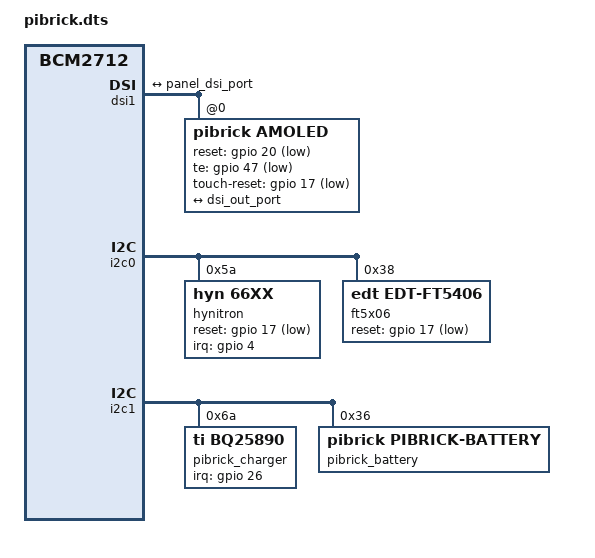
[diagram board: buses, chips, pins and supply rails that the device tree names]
/dts-v1/;
/plugin/;

/ {
	compatible = "brcm,bcm2712",
		     "raspberrypi,5-compute-module",
		     "raspberrypi,5-model-b";

	/*
	 * piBrick PocketCM5 common overlay
	 *
	 * Display variants:
	 *   - 3.92-inch AMOLED: 1080x1240, 90/60 Hz
	 *   - 5.48-inch AMOLED: 1080x1920, 60 Hz
	 *
	 * The panel driver detects the installed panel through I2C0:
	 *   0x38 responds -> 5.48-inch panel
	 *   0x38 absent   -> 3.92-inch panel
	 *
	 * Display rotation:
	 *   rotation = <0> is the common physical DTS setting.
	 *   The panel driver adds 180 degrees for the 5.48-inch panel.
	 *
	 * Touch rotation is configured independently because the touchscreen
	 * is a separate I2C input device:
	 *   - Hynitron 3.92-inch: coordinate configuration from the original DTS
	 *   - FT5x06 5.48-inch: inverted X + inverted Y = 180 degrees
	 */

	fragment@0 {
		target = <&dsi1>;
		__overlay__ {
			status = "okay";
			#address-cells = <1>;
			#size-cells = <0>;

			port {
				dsi_out_port: endpoint {
					remote-endpoint = <&panel_dsi_port>;
				};
			};

			pibrick: pibrick@0 {
				compatible = "pibrick,amoled";
				status = "okay";
				reg = <0>;

				reset-gpios = <&gpio 20 1>;
				te-gpios = <&gpio 47 1>;
				touch-reset-gpios = <&gpio 17 1>;

				/* Base rotation. 5.48-inch driver adds 180 degrees. */
				rotation = <0>;

				port {
					panel_dsi_port: endpoint {
						remote-endpoint = <&dsi_out_port>;
					};
				};
			};
		};
	};

	fragment@1 {
		target = <&gpio>;
		__overlay__ {
			pibrick_pins: pibrick_pins {
				brcm,pins = <47>;
				brcm,function = <1>;
				brcm,pull = <1>;
			};
		};
	};

	fragment@2 {
		target = <&i2c0>;
		__overlay__ {
			#address-cells = <1>;
			#size-cells = <0>;
			status = "okay";

			/* 3.92-inch AMOLED touchscreen */
			hynitron: touchscreen@5a {
				compatible = "hyn,66xx";
				reg = <0x5a>;

				interrupt-parent = <&gpio>;
				interrupts = <4 2>;
				reset-gpio = <&gpio 17 1>;
				irq-gpio = <&gpio 4 2>;

				panel = <&pibrick>;

				max-touch-number = <5>;
				display-coords = <0 0 1080 1240>;
				pos-swap = <1>;
				posx-reverse = <0>;
				posy-reverse = <0>;
			};

			/* 5.48-inch AMOLED touchscreen */
			ft5x06: touchscreen@38 {
				compatible = "edt,edt-ft5406";
				reg = <0x38>;

				pinctrl-names = "default";
				reset-gpios = <&gpio 17 1>;

				panel = <&pibrick>;

				touchscreen-size-x = <1080>;
				touchscreen-size-y = <1920>;

				/* Physical touchscreen is mounted 180 degrees. */
				touchscreen-inverted-x;
				touchscreen-inverted-y;

				touchscreen-fuzz = <3>;
				touchscreen-average-samples = <4>;
				max-touch-number = <5>;
			};
		};
	};

	/*
	 * I2C1 power subsystem.
	 *
	 * MAX17048 is the preferred fuel gauge when fitted.
	 * BQ25890 is the charger and provides the fallback voltage-based
	 * fuel-gauge path when MAX17048 is not present.
	 *
	 * The pibrick-battery driver is responsible for selecting MAX17048
	 * when it is present and using the BQ25890 fallback otherwise.
	 */
	fragment@3 {
		target = <&i2c1>;
		__overlay__ {
			#address-cells = <1>;
			#size-cells = <0>;
			status = "okay";

			pibrick_charger: charger@6a {
				compatible = "ti,bq25890";
				reg = <0x6a>;
				status = "okay";

				pibrick,battery-capacity-mah = <5000>;
				pibrick,charge-current-ma = <4000>;

				ti,battery-regulation-voltage = <4100000>;
				ti,charge-current = <4000000>;
				ti,termination-current = <50000>;
				ti,precharge-current = <128000>;
				ti,minimum-sys-voltage = <3600000>;
				ti,boost-voltage = <5000000>;
				ti,boost-max-current = <3000000>;
				ti,use-ilim-pin;
				ti,thermal-regulation-threshold = <120>;

				interrupt-parent = <&gpio>;
				interrupts = <26 2>;
			};

			pibrick_battery: battery-gauge@36 {
				compatible = "pibrick,pibrick-battery";
				reg = <0x36>;
				status = "okay";
				pibrick,battery-capacity-mah = <5000>;
			};
			
/* Enable accelerometer
			pibrick_accel: accelerometer@1c {
				compatible = "pibrick,mma8451";
				reg = <0x1c>;
				status = "okay";
			};
*/
		};
	};

	__overrides__ {
		battery_capacity = <&pibrick_charger>, "pibrick,battery-capacity-mah:0",
					   <&pibrick_battery>, "pibrick,battery-capacity-mah:0";
		charge_current_ma = <&pibrick_charger>, "pibrick,charge-current-ma:0";
	};
};
